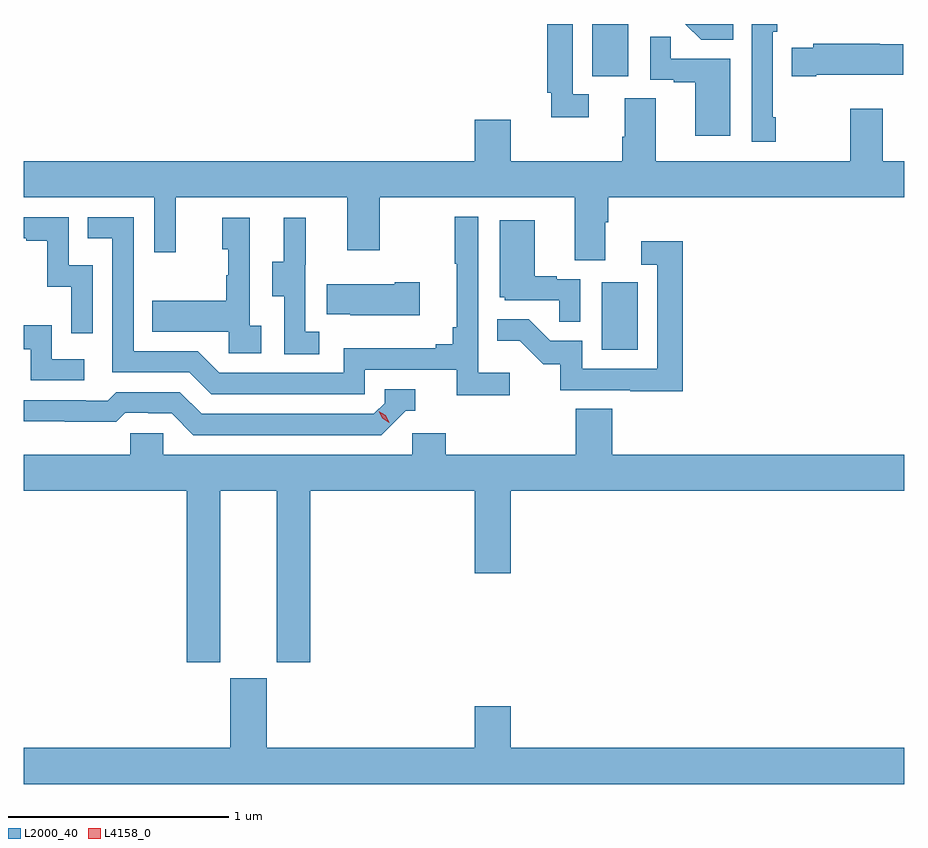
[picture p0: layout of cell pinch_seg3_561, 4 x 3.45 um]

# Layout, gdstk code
import gdstk
lib = gdstk.Library(unit=1e-6, precision=1e-09)
def R(c, l, rs):  # rectangles x0, y0, x1, y1
    for r in rs: c.add(gdstk.rectangle(r[:2], r[2:], *l))
def P(c, l, *ps):  # polygons
    for p in ps: c.add(gdstk.Polygon(p, *l))
L2000_40 = (2000, 40)
L4158_0 = (4158, 0)

pinch_seg3_561 = lib.new_cell('pinch_seg3_561')
R(pinch_seg3_561, L2000_40, [(1112.636,688.236,1112.8,688.543), (1112.594,689.478,1112.758,689.716)])
P(pinch_seg3_561, L2000_40, [(1113.427,689.293),(1113.414,689.293),(1113.414,689.681),(1113.434,689.681),(1113.434,689.716),(1113.318,689.716),(1113.318,689.181),(1113.427,689.181)],
  [(1113.233,689.716),(1113.017,689.716),(1113.089,689.644),(1113.233,689.644)],
  [(1112.578,689.397),(1112.505,689.397),(1112.505,689.716),(1112.389,689.716),(1112.389,689.404),(1112.408,689.404),(1112.408,689.292),(1112.578,689.292)],
  [(1113.22,689.559),(1112.951,689.559),(1112.951,689.657),(1112.856,689.657),(1112.856,689.463),(1112.963,689.463),(1112.963,689.451),(1113.062,689.451),(1113.062,689.208),(1113.22,689.208)],
  [(1113.61,689.486),(1114.007,689.486),(1114.007,689.623),(1113.899,689.623),(1113.899,689.626),(1113.597,689.626),(1113.597,689.608),(1113.499,689.608),(1113.499,689.479),(1113.61,689.479)],
  [(1112.653,688.816),(1112.666,688.816),(1112.666,688.928),(1114.011,688.928),(1114.011,689.092),(1113.913,689.092),(1113.913,689.332),(1113.766,689.332),(1113.766,689.092),(1112.881,689.092),(1112.881,689.378),(1112.741,689.378),(1112.741,689.204),(1112.729,689.204),(1112.729,689.092),(1112.224,689.092),(1112.224,689.281),(1112.06,689.281),(1112.06,689.092),(1110.011,689.092),(1110.011,688.928),(1110.603,688.928),(1110.603,688.68),(1110.701,688.68),(1110.701,688.928),(1111.481,688.928),(1111.481,688.689),(1111.629,688.689),(1111.629,688.928),(1112.513,688.928),(1112.513,688.642),(1112.653,688.642)],
  [(1112.218,688.132),(1112.076,688.132),(1112.076,688.84),(1111.968,688.84),(1111.968,688.627),(1111.979,688.627),(1111.979,688.339),(1111.96,688.339),(1111.96,688.262),(1111.883,688.262),(1111.883,688.243),(1111.464,688.243),(1111.464,688.131),(1110.9,688.131),(1110.801,688.23),(1110.51,688.23),(1110.51,688.839),(1110.301,688.839),(1110.301,688.743),(1110.414,688.743),(1110.414,688.134),(1110.764,688.134),(1110.863,688.035),(1111.56,688.035),(1111.56,688.146),(1111.979,688.146),(1111.979,688.03),(1112.218,688.03)],
  [(1110.324,688.62),(1110.216,688.62),(1110.216,688.839),(1110.011,688.839),(1110.011,688.743),(1110.023,688.743),(1110.023,688.731),(1110.119,688.731),(1110.119,688.523),(1110.228,688.523),(1110.228,688.311),(1110.324,688.311)],
  [(1111.354,688.319),(1111.29,688.319),(1111.29,688.623),(1111.292,688.623),(1111.292,688.837),(1111.193,688.837),(1111.193,688.635),(1111.139,688.635),(1111.139,688.48),(1111.194,688.48),(1111.194,688.216),(1111.354,688.216)],
  [(1111.09,688.346),(1111.038,688.346),(1111.038,688.837),(1110.914,688.837),(1110.914,688.692),(1110.94,688.692),(1110.94,688.574),(1110.93,688.574),(1110.93,688.459),(1110.595,688.459),(1110.595,688.319),(1110.942,688.319),(1110.942,688.221),(1111.09,688.221)],
  [(1112.538,688.557),(1112.432,688.557),(1112.432,688.57),(1112.332,688.57),(1112.332,688.825),(1112.174,688.825),(1112.174,688.476),(1112.196,688.476),(1112.196,688.461),(1112.443,688.461),(1112.443,688.363),(1112.538,688.363)],
  [(1113.005,688.729),(1112.817,688.729),(1112.817,688.623),(1112.889,688.623),(1112.889,688.149),(1112.547,688.149),(1112.547,688.278),(1112.403,688.278),(1112.305,688.376),(1112.161,688.376),(1112.161,688.277),(1112.265,688.277),(1112.372,688.17),(1112.449,688.17),(1112.449,688.053),(1112.767,688.053),(1112.767,688.048),(1113.005,688.048)],
  [(1111.81,688.542),(1111.697,688.542),(1111.697,688.534),(1111.387,688.534),(1111.387,688.397),(1111.495,688.397),(1111.495,688.394),(1111.81,688.394)],
  [(1110.286,688.194),(1110.138,688.194),(1110.138,688.348),(1110.011,688.348),(1110.011,688.239),(1110.042,688.239),(1110.042,688.098),(1110.286,688.098)],
  [(1111.746,687.96),(1111.789,687.96),(1111.789,688.056),(1111.65,688.056),(1111.65,687.993),(1111.602,687.945),(1110.819,687.945),(1110.72,688.044),(1110.431,688.044),(1110.392,688.005),(1110.293,688.005),(1110.293,688.008),(1110.011,688.008),(1110.011,687.911),(1110.198,687.911),(1110.198,687.909),(1110.431,687.909),(1110.473,687.951),(1110.576,687.951),(1110.576,687.948),(1110.683,687.948),(1110.782,687.849),(1111.635,687.849)],
  [(1110.904,687.596),(1111.16,687.596),(1111.16,686.817),(1111.313,686.817),(1111.313,687.596),(1112.06,687.596),(1112.06,687.222),(1112.224,687.222),(1112.224,687.596),(1114.011,687.596),(1114.011,687.76),(1112.684,687.76),(1112.684,687.968),(1112.519,687.968),(1112.519,687.76),(1111.928,687.76),(1111.928,687.858),(1111.776,687.858),(1111.776,687.76),(1110.645,687.76),(1110.645,687.858),(1110.495,687.858),(1110.495,687.76),(1110.011,687.76),(1110.011,687.596),(1110.752,687.596),(1110.752,686.817),(1110.904,686.817)],
  [(1114.011,686.428),(1112.224,686.428),(1112.224,686.617),(1112.06,686.617),(1112.06,686.428),(1111.114,686.428),(1111.114,686.745),(1110.95,686.745),(1110.95,686.428),(1110.011,686.428),(1110.011,686.264),(1114.011,686.264)])
P(pinch_seg3_561, L4158_0, [(1111.671,687.904),(1111.64,687.925),(1111.624,687.958),(1111.624,687.958),(1111.624,687.958),(1111.655,687.938),(1111.671,687.904),(1111.671,687.904)])

lib.write_gds('pinch_seg3_561.gds')
